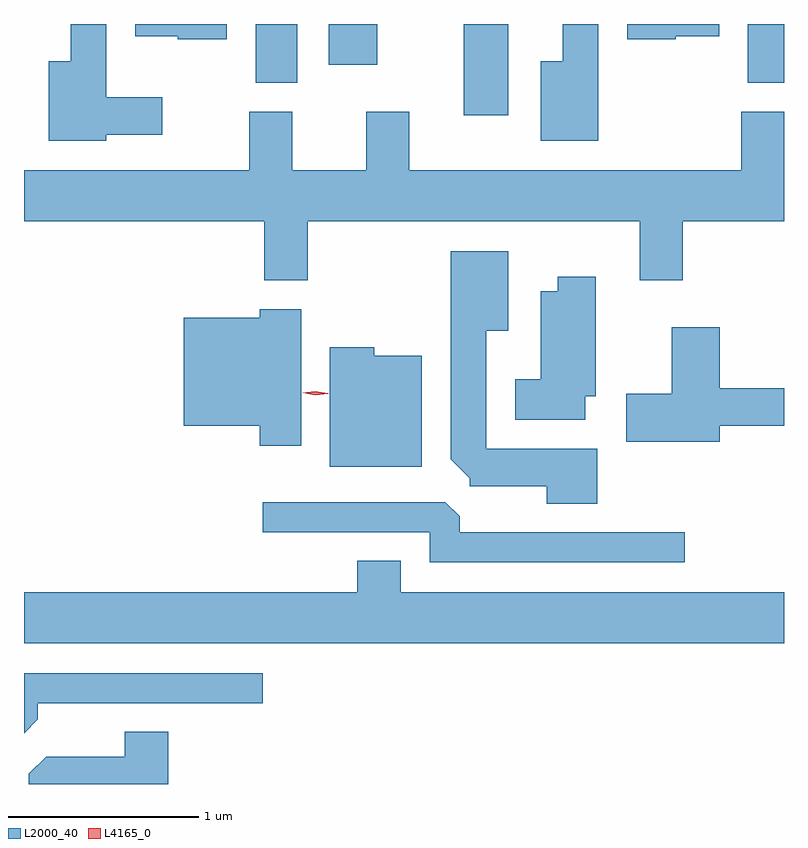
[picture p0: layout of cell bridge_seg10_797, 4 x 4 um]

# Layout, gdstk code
import gdstk
lib = gdstk.Library(unit=1e-6, precision=1e-09)
def R(c, l, rs):  # rectangles x0, y0, x1, y1
    for r in rs: c.add(gdstk.rectangle(r[:2], r[2:], *l))
def P(c, l, *ps):  # polygons
    for p in ps: c.add(gdstk.Polygon(p, *l))
L2000_40 = (2000, 40)
L4165_0 = (4165, 0)

bridge_seg10_797 = lib.new_cell('bridge_seg10_797')
R(bridge_seg10_797, L2000_40, [(279.641,2149.996,279.874,2150.475), (278.546,2150.166,278.764,2150.475), (281.136,2150.166,281.326,2150.475), (278.931,2150.261,279.184,2150.475)])
P(bridge_seg10_797, L2000_40, [(280.755,2150.411),(280.984,2150.411),(280.984,2150.475),(280.501,2150.475),(280.501,2150.396),(280.755,2150.396)],
  [(278.394,2150.475),(277.911,2150.475),(277.911,2150.411),(278.135,2150.411),(278.135,2150.396),(278.394,2150.396)],
  [(277.759,2149.891),(278.054,2149.891),(278.054,2150.089),(277.759,2150.089),(277.759,2150.475),(277.571,2150.475),(277.571,2150.279),(277.456,2150.279),(277.456,2149.861),(277.759,2149.861)],
  [(280.349,2150.475),(280.161,2150.475),(280.161,2150.279),(280.046,2150.279),(280.046,2149.861),(280.349,2149.861)],
  [(278.511,2149.704),(277.326,2149.704),(277.326,2149.436),(278.591,2149.436),(278.591,2149.126),(278.819,2149.126),(278.819,2149.436),(280.566,2149.436),(280.566,2149.126),(280.794,2149.126),(280.794,2149.436),(281.326,2149.436),(281.326,2150.014),(281.101,2150.014),(281.101,2149.704),(279.354,2149.704),(279.354,2150.014),(279.126,2150.014),(279.126,2149.704),(278.739,2149.704),(278.739,2150.014),(278.511,2150.014)],
  [(280.344,2148.239),(279.759,2148.239),(279.759,2148.861),(279.874,2148.861),(279.874,2149.279),(279.571,2149.279),(279.571,2148.184),(279.671,2148.084),(279.671,2148.041),(280.076,2148.041),(280.076,2147.951),(280.344,2147.951)],
  [(280.279,2148.516),(280.334,2148.516),(280.334,2149.144),(280.136,2149.144),(280.136,2149.069),(280.046,2149.069),(280.046,2148.604),(279.911,2148.604),(279.911,2148.391),(280.279,2148.391)],
  [(278.784,2148.974),(278.566,2148.974),(278.566,2148.929),(278.166,2148.929),(278.166,2148.361),(278.566,2148.361),(278.566,2148.256),(278.784,2148.256)],
  [(280.989,2148.361),(281.326,2148.361),(281.326,2148.559),(280.989,2148.559),(280.989,2148.879),(280.736,2148.879),(280.736,2148.529),(280.496,2148.529),(280.496,2148.276),(280.989,2148.276)],
  [(279.419,2148.729),(279.169,2148.729),(279.169,2148.774),(278.936,2148.774),(278.936,2148.146),(279.419,2148.146)],
  [(280.803,2147.799),(279.619,2147.799),(279.619,2147.884),(279.544,2147.959),(278.583,2147.959),(278.583,2147.801),(279.461,2147.801),(279.461,2147.641),(280.803,2147.641)],
  [(281.326,2147.484),(279.309,2147.484),(279.309,2147.649),(279.081,2147.649),(279.081,2147.484),(277.326,2147.484),(277.326,2147.216),(281.326,2147.216)],
  [(277.399,2146.817),(277.399,2146.901),(278.583,2146.901),(278.583,2147.059),(277.326,2147.059),(277.326,2146.743)],
  [(278.084,2146.749),(277.856,2146.749),(277.856,2146.619),(277.442,2146.619),(277.351,2146.529),(277.351,2146.475),(278.084,2146.475)])
P(bridge_seg10_797, L4165_0, [(278.86,2148.522),(278.794,2148.533),(278.793,2148.533),(278.794,2148.534),(278.86,2148.542),(278.926,2148.532),(278.926,2148.531),(278.926,2148.53)])

lib.write_gds('bridge_seg10_797.gds')
